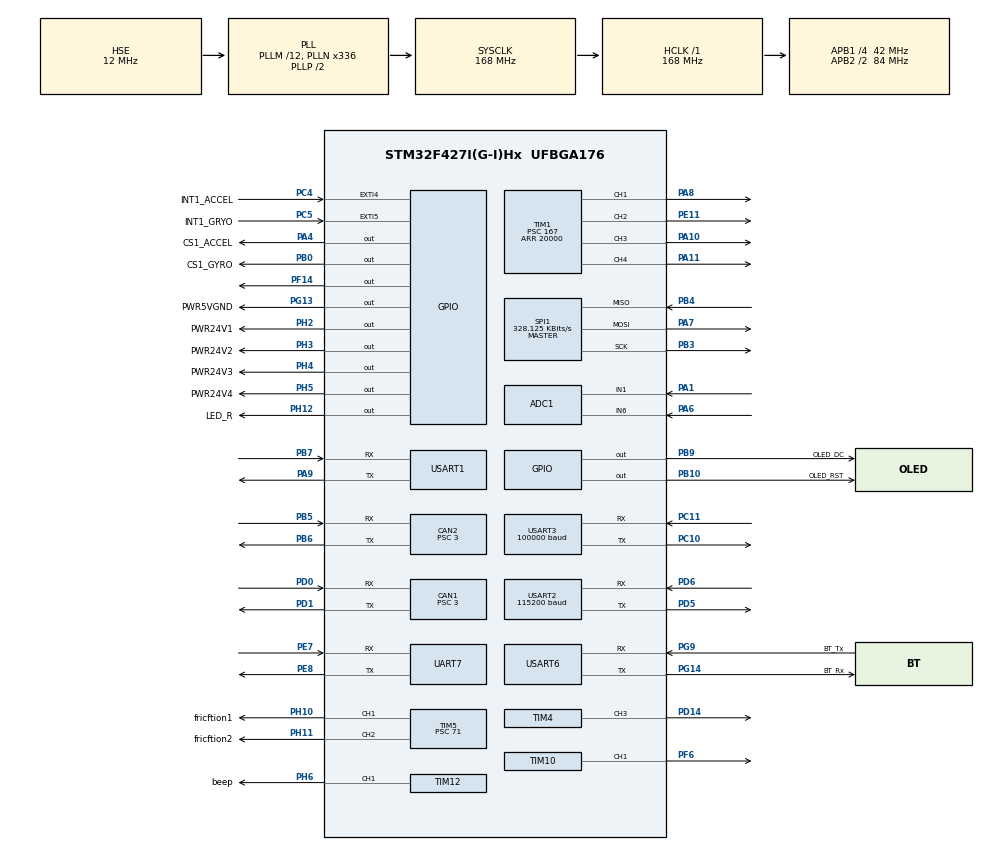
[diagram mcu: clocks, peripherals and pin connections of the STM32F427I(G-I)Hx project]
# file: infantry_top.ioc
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ADC1.Channel-0\#ChannelRegularConversion=ADC_CHANNEL_6
ADC1.DiscontinuousConvMode=DISABLE
ADC1.InjNumberOfConversion=0
ADC1.NbrOfConversion=1
ADC1.NbrOfConversionFlag=1
ADC1.Rank-0\#ChannelRegularConversion=1
ADC1.SamplingTime-0\#ChannelRegularConversion=ADC_SAMPLETIME_3CYCLES
ADC1.ScanConvMode=DISABLE
ADC1.master=1
CAN1.ABOM=ENABLE
CAN1.BS1=CAN_BS1_10TQ
CAN1.BS2=CAN_BS2_3TQ
CAN1.CalculateTimeQuantum=71.42857142857143
CAN1.Prescaler=3
CAN2.BS1=CAN_BS1_10TQ
CAN2.BS2=CAN_BS2_3TQ
CAN2.CalculateTimeQuantum=71.42857142857143
CAN2.Prescaler=3
Dma.Request0=USART3_RX
Dma.Request1=USART2_RX
Dma.Request2=USART2_TX
Dma.Request3=USART1_RX
Dma.Request4=USART1_TX
Dma.Request5=SPI1_RX
Dma.Request6=SPI1_TX
Dma.SPI1_RX.5.Direction=DMA_PERIPH_TO_MEMORY
Dma.SPI1_RX.5.FIFOMode=DMA_FIFOMODE_DISABLE
Dma.SPI1_RX.5.Instance=DMA2_Stream0
Dma.SPI1_RX.5.MemDataAlignment=DMA_MDATAALIGN_BYTE
Dma.SPI1_RX.5.MemInc=DMA_MINC_ENABLE
Dma.SPI1_RX.5.Mode=DMA_NORMAL
Dma.SPI1_RX.5.PeriphDataAlignment=DMA_PDATAALIGN_BYTE
Dma.SPI1_RX.5.PeriphInc=DMA_PINC_DISABLE
Dma.SPI1_RX.5.Priority=DMA_PRIORITY_LOW
Dma.SPI1_TX.6.Direction=DMA_MEMORY_TO_PERIPH
Dma.SPI1_TX.6.FIFOMode=DMA_FIFOMODE_DISABLE
Dma.SPI1_TX.6.Instance=DMA2_Stream3
Dma.SPI1_TX.6.MemDataAlignment=DMA_MDATAALIGN_BYTE
Dma.SPI1_TX.6.MemInc=DMA_MINC_ENABLE
Dma.SPI1_TX.6.Mode=DMA_NORMAL
Dma.SPI1_TX.6.PeriphDataAlignment=DMA_PDATAALIGN_BYTE
Dma.SPI1_TX.6.PeriphInc=DMA_PINC_DISABLE
Dma.SPI1_TX.6.Priority=DMA_PRIORITY_LOW
Dma.USART1_RX.3.Direction=DMA_PERIPH_TO_MEMORY
Dma.USART1_RX.3.FIFOMode=DMA_FIFOMODE_DISABLE
Dma.USART1_RX.3.Instance=DMA2_Stream2
Dma.USART1_RX.3.MemDataAlignment=DMA_MDATAALIGN_BYTE
Dma.USART1_RX.3.MemInc=DMA_MINC_ENABLE
Dma.USART1_RX.3.Mode=DMA_CIRCULAR
Dma.USART1_RX.3.PeriphDataAlignment=DMA_PDATAALIGN_BYTE
Dma.USART1_RX.3.PeriphInc=DMA_PINC_DISABLE
Dma.USART1_RX.3.Priority=DMA_PRIORITY_MEDIUM
Dma.USART1_TX.4.Direction=DMA_MEMORY_TO_PERIPH
Dma.USART1_TX.4.FIFOMode=DMA_FIFOMODE_DISABLE
Dma.USART1_TX.4.Instance=DMA2_Stream7
Dma.USART1_TX.4.MemDataAlignment=DMA_MDATAALIGN_BYTE
Dma.USART1_TX.4.MemInc=DMA_MINC_ENABLE
Dma.USART1_TX.4.Mode=DMA_NORMAL
Dma.USART1_TX.4.PeriphDataAlignment=DMA_PDATAALIGN_BYTE
Dma.USART1_TX.4.PeriphInc=DMA_PINC_DISABLE
Dma.USART1_TX.4.Priority=DMA_PRIORITY_MEDIUM
Dma.USART2_RX.1.Direction=DMA_PERIPH_TO_MEMORY
Dma.USART2_RX.1.FIFOMode=DMA_FIFOMODE_DISABLE
Dma.USART2_RX.1.Instance=DMA1_Stream5
Dma.USART2_RX.1.MemDataAlignment=DMA_MDATAALIGN_BYTE
Dma.USART2_RX.1.MemInc=DMA_MINC_ENABLE
Dma.USART2_RX.1.Mode=DMA_NORMAL
Dma.USART2_RX.1.PeriphDataAlignment=DMA_PDATAALIGN_BYTE
Dma.USART2_RX.1.PeriphInc=DMA_PINC_DISABLE
Dma.USART2_RX.1.Priority=DMA_PRIORITY_LOW
Dma.USART2_TX.2.Direction=DMA_MEMORY_TO_PERIPH
Dma.USART2_TX.2.FIFOMode=DMA_FIFOMODE_DISABLE
Dma.USART2_TX.2.Instance=DMA1_Stream6
Dma.USART2_TX.2.MemDataAlignment=DMA_MDATAALIGN_BYTE
Dma.USART2_TX.2.MemInc=DMA_MINC_ENABLE
Dma.USART2_TX.2.Mode=DMA_NORMAL
Dma.USART2_TX.2.PeriphDataAlignment=DMA_PDATAALIGN_BYTE
Dma.USART2_TX.2.PeriphInc=DMA_PINC_DISABLE
Dma.USART2_TX.2.Priority=DMA_PRIORITY_LOW
Dma.USART3_RX.0.Direction=DMA_PERIPH_TO_MEMORY
Dma.USART3_RX.0.FIFOMode=DMA_FIFOMODE_DISABLE
Dma.USART3_RX.0.Instance=DMA1_Stream1
Dma.USART3_RX.0.MemDataAlignment=DMA_MDATAALIGN_BYTE
Dma.USART3_RX.0.MemInc=DMA_MINC_ENABLE
Dma.USART3_RX.0.Mode=DMA_CIRCULAR
Dma.USART3_RX.0.PeriphDataAlignment=DMA_PDATAALIGN_BYTE
Dma.USART3_RX.0.PeriphInc=DMA_PINC_DISABLE
Dma.USART3_RX.0.Priority=DMA_PRIORITY_LOW
FREERTOS.Tasks01=defaultTask,0,128,StartDefaultTask,Default,NULL,Dynamic,NULL,NULL;Control,0,128,StartControl,Default,NULL,Dynamic,NULL,NULL;Debug,0,128,StartDebug,Default,NULL,Dynamic,NULL,NULL
Mcu.Family=STM32F4
Mcu.Name=STM32F427I(G-I)Hx
Mcu.Package=UFBGA176
NVIC.CAN1_RX0_IRQn=true\:5\:0\:false\:false\:true\:true\:true\:true
NVIC.CAN2_RX0_IRQn=true\:5\:0\:false\:false\:true\:true\:true\:true
NVIC.DMA1_Stream1_IRQn=true\:5\:0\:false\:false\:true\:true\:false\:true
NVIC.DMA1_Stream5_IRQn=true\:5\:0\:false\:false\:true\:true\:false\:true
NVIC.DMA1_Stream6_IRQn=true\:5\:0\:false\:false\:true\:true\:false\:true
NVIC.DMA2_Stream0_IRQn=true\:5\:0\:false\:false\:true\:true\:false\:true
NVIC.DMA2_Stream2_IRQn=true\:5\:0\:false\:false\:true\:true\:false\:true
NVIC.DMA2_Stream3_IRQn=true\:5\:0\:false\:false\:true\:true\:false\:true
NVIC.DMA2_Stream7_IRQn=true\:5\:0\:false\:false\:true\:true\:false\:true
NVIC.PriorityGroup=NVIC_PRIORITYGROUP_4
NVIC.TIM1_TRG_COM_TIM11_IRQn=true\:5\:0\:false\:false\:true\:true\:true\:true
NVIC.TIM6_DAC_IRQn=true\:5\:0\:false\:false\:true\:true\:true\:true
NVIC.USART1_IRQn=true\:5\:0\:false\:false\:true\:true\:true\:true
NVIC.USART2_IRQn=true\:5\:0\:false\:false\:true\:true\:true\:true
NVIC.USART3_IRQn=true\:5\:0\:false\:false\:true\:true\:true\:true
NVIC.USART6_IRQn=true\:5\:0\:false\:false\:true\:true\:true\:true
PA1.Signal=ADCx_IN1
PA10.Signal=S_TIM1_CH3
PA11.Signal=S_TIM1_CH4
PA13.Mode=Serial_Wire
PA13.Signal=SYS_JTMS-SWDIO
PA14.Mode=Serial_Wire
PA14.Signal=SYS_JTCK-SWCLK
PA4.GPIO_Label=CS1_ACCEL
PA4.GPIO_PuPd=GPIO_PULLUP
PA4.GPIO_Speed=GPIO_SPEED_FREQ_HIGH
PA4.PinState=GPIO_PIN_SET
PA4.Signal=GPIO_Output
PA6.Signal=ADCx_IN6
PA7.Mode=Full_Duplex_Master
PA7.Signal=SPI1_MOSI
PA8.Signal=S_TIM1_CH1
PA9.Mode=Asynchronous
PA9.Signal=USART1_TX
PB0.GPIO_Label=CS1_GYRO
PB0.GPIO_PuPd=GPIO_PULLUP
PB0.GPIO_Speed=GPIO_SPEED_FREQ_HIGH
PB0.PinState=GPIO_PIN_SET
PB0.Signal=GPIO_Output
PB10.GPIO_Label=OLED_RST
PB10.Signal=GPIO_Output
PB3.Mode=Full_Duplex_Master
PB3.Signal=SPI1_SCK
PB4.Mode=Full_Duplex_Master
PB4.Signal=SPI1_MISO
PB5.GPIO_PuPd=GPIO_NOPULL
PB5.Mode=Slave
PB5.Signal=CAN2_RX
PB6.GPIO_PuPd=GPIO_NOPULL
PB6.Mode=Slave
PB6.Signal=CAN2_TX
PB7.Mode=Asynchronous
PB7.Signal=USART1_RX
PB9.GPIO_Label=OLED_DC
PB9.Signal=GPIO_Output
PC10.Mode=Asynchronous
PC10.Signal=USART3_TX
PC11.Mode=Asynchronous
PC11.Signal=USART3_RX
PC14/OSC32_IN.Mode=LSE-External-Oscillator
PC14/OSC32_IN.Signal=RCC_OSC32_IN
PC15/OSC32_OUT.Mode=LSE-External-Oscillator
PC15/OSC32_OUT.Signal=RCC_OSC32_OUT
PC4.GPIO_Label=INT1_ACCEL
PC4.GPIO_ModeDefaultEXTI=GPIO_MODE_IT_FALLING
PC4.GPIO_PuPd=GPIO_PULLUP
PC4.Signal=GPXTI4
PC5.GPIO_Label=INT1_GRYO
PC5.GPIO_ModeDefaultEXTI=GPIO_MODE_IT_FALLING
PC5.GPIO_PuPd=GPIO_PULLUP
PC5.Signal=GPXTI5
PD0.GPIO_PuPd=GPIO_NOPULL
PD0.Mode=Master
PD0.Signal=CAN1_RX
PD1.GPIO_PuPd=GPIO_NOPULL
PD1.Mode=Master
PD1.Signal=CAN1_TX
PD14.Signal=S_TIM4_CH3
PD5.Mode=Asynchronous
PD5.Signal=USART2_TX
PD6.Mode=Asynchronous
PD6.Signal=USART2_RX
PE11.Signal=S_TIM1_CH2
PE7.Mode=Asynchronous
PE7.Signal=UART7_RX
PE8.Mode=Asynchronous
PE8.Signal=UART7_TX
PF14.Signal=GPIO_Output
PF6.GPIO_PuPd=GPIO_PULLUP
PF6.GPIO_Speed=GPIO_SPEED_FREQ_HIGH
PF6.Signal=S_TIM10_CH1
PG13.GPIO_Label=PWR5VGND
PG13.Signal=GPIO_Output
PG14.GPIO_Label=BT_Rx
PG14.Mode=Asynchronous
PG14.Signal=USART6_TX
PG9.GPIO_Label=BT_Tx
PG9.Mode=Asynchronous
PG9.Signal=USART6_RX
PH0/OSC_IN.Mode=HSE-External-Oscillator
PH0/OSC_IN.Signal=RCC_OSC_IN
PH1/OSC_OUT.Mode=HSE-External-Oscillator
PH1/OSC_OUT.Signal=RCC_OSC_OUT
PH10.GPIO_Label=fricftion1
PH10.Signal=S_TIM5_CH1
PH11.GPIO_Label=fricftion2
PH11.Signal=S_TIM5_CH2
PH12.GPIO_Label=LED_R
PH12.Signal=GPIO_Output
PH2.GPIO_Label=PWR24V1
PH2.Signal=GPIO_Output
PH3.GPIO_Label=PWR24V2
PH3.Signal=GPIO_Output
PH4.GPIO_Label=PWR24V3
PH4.Signal=GPIO_Output
PH5.GPIO_Label=PWR24V4
PH5.Signal=GPIO_Output
PH6.GPIO_Label=beep
PH6.Signal=S_TIM12_CH1
ProjectManager.HeapSize=0x600
ProjectManager.StackSize=0x400
ProjectManager.TargetToolchain=MDK-ARM V5
RCC.48MHZClocksFreq_Value=48000000
RCC.AHBFreq_Value=168000000
RCC.APB1CLKDivider=RCC_HCLK_DIV4
RCC.APB1Freq_Value=42000000
RCC.APB1TimFreq_Value=84000000
RCC.APB2CLKDivider=RCC_HCLK_DIV2
RCC.APB2Freq_Value=84000000
RCC.APB2TimFreq_Value=168000000
RCC.CortexFreq_Value=168000000
RCC.HCLKFreq_Value=168000000
RCC.HSE_VALUE=12000000
RCC.HSI_VALUE=16000000
RCC.PLLM=12
RCC.PLLN=336
RCC.PLLQ=7
RCC.PLLSourceVirtual=RCC_PLLSOURCE_HSE
RCC.SYSCLKFreq_VALUE=168000000
RCC.SYSCLKSource=RCC_SYSCLKSOURCE_PLLCLK
RCC.VCOOutputFreq_Value=336000000
SH.ADCx_IN1.0=ADC1_IN1,IN1
SH.ADCx_IN6.0=ADC1_IN6,IN6
SH.S_TIM10_CH1.0=TIM10_CH1,PWM Generation1 CH1
SH.S_TIM12_CH1.0=TIM12_CH1,PWM Generation1 CH1
SH.S_TIM1_CH1.0=TIM1_CH1,PWM Generation1 CH1
SH.S_TIM1_CH2.0=TIM1_CH2,PWM Generation2 CH2
SH.S_TIM1_CH3.0=TIM1_CH3,PWM Generation3 CH3
SH.S_TIM1_CH4.0=TIM1_CH4,PWM Generation4 CH4
SH.S_TIM4_CH3.0=TIM4_CH3,PWM Generation3 CH3
SH.S_TIM5_CH1.0=TIM5_CH1,PWM Generation1 CH1
SH.S_TIM5_CH2.0=TIM5_CH2,PWM Generation2 CH2
SPI1.BaudRatePrescaler=SPI_BAUDRATEPRESCALER_256
SPI1.CLKPhase=SPI_PHASE_2EDGE
SPI1.CalculateBaudRate=328.125 KBits/s
SPI1.Direction=SPI_DIRECTION_2LINES
SPI1.Mode=SPI_MODE_MASTER
SPI1.VirtualType=VM_MASTER
TIM1.Channel-PWM\ Generation1\ CH1=TIM_CHANNEL_1
TIM1.Channel-PWM\ Generation2\ CH2=TIM_CHANNEL_2
TIM1.Channel-PWM\ Generation3\ CH3=TIM_CHANNEL_3
TIM1.Channel-PWM\ Generation4\ CH4=TIM_CHANNEL_4
TIM1.Period=20000
TIM1.Prescaler=167
TIM1.Pulse-PWM\ Generation1\ CH1=1000
TIM1.Pulse-PWM\ Generation2\ CH2=1000
TIM1.Pulse-PWM\ Generation3\ CH3=1000
TIM1.Pulse-PWM\ Generation4\ CH4=1000
TIM10.Channel=TIM_CHANNEL_1
TIM10.Period=4999
TIM11.Period=999
TIM11.Prescaler=167
TIM12.Channel-PWM\ Generation1\ CH1=TIM_CHANNEL_1
TIM12.Period=36
TIM12.Prescaler=839
TIM12.Pulse-PWM\ Generation1\ CH1=18
TIM4.Channel-PWM\ Generation3\ CH3=TIM_CHANNEL_3
TIM4.Period=36
TIM4.Prescaler=839
TIM4.Pulse-PWM\ Generation3\ CH3=18
TIM5.Channel-PWM\ Generation1\ CH1=TIM_CHANNEL_1
TIM5.Channel-PWM\ Generation2\ CH2=TIM_CHANNEL_2
TIM5.Period=19999
TIM5.Prescaler=71
TIM5.Pulse-PWM\ Generation1\ CH1=1000
TIM5.Pulse-PWM\ Generation2\ CH2=1000
TIM6.Period=9999
TIM6.Prescaler=7199
UART7.VirtualMode=Asynchronous
USART1.VirtualMode=VM_ASYNC
USART2.BaudRate=115200
USART2.VirtualMode=VM_ASYNC
USART3.BaudRate=100000
USART3.Parity=PARITY_EVEN
USART3.VirtualMode=VM_ASYNC
USART6.VirtualMode=VM_ASYNC
VP_ADC1_TempSens_Input.Mode=IN-TempSens
VP_FREERTOS_VS_CMSIS_V1.Mode=CMSIS_V1
VP_TIM10_VS_ClockSourceINT.Mode=Enable_Timer
VP_TIM11_VS_ClockSourceINT.Mode=Enable_Timer
VP_TIM4_VS_ClockSourceINT.Mode=Internal
VP_TIM5_VS_ClockSourceINT.Mode=Internal
VP_TIM6_VS_ClockSourceINT.Mode=Enable_Timer
board=custom

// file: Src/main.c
/* USER CODE BEGIN Header */
/**
  ******************************************************************************
  * @file           : main.c
  * @brief          : Main program body
  ******************************************************************************
  * @attention
  *
  * <h2><center>&copy; Copyright (c) 2019 STMicroelectronics.
  * All rights reserved.</center></h2>
  *
  * This software component is licensed by ST under BSD 3-Clause license,
  * the "License"; You may not use this file except in compliance with the
  * License. You may obtain a copy of the License at:
  *                        opensource.org/licenses/BSD-3-Clause
  *
  ******************************************************************************
  */
/* USER CODE END Header */

#include "main.h"
#include "cmsis_os.h"
#include "adc.h"
#include "can.h"
#include "dma.h"
#include "spi.h"
#include "tim.h"
#include "usart.h"
#include "gpio.h"

void SystemClock_Config(void);
void MX_FREERTOS_Init(void);
/* USER CODE BEGIN PFP */
void BSP_All_Init(void);		// 所有设备初始化
/* USER CODE END PFP */

int main(void)
{

  /* MCU Configuration--------------------------------------------------------*/

  /* Reset of all peripherals, Initializes the Flash interface and the Systick. */
  HAL_Init();

  /* Configure the system clock */
  SystemClock_Config();

  /* Initialize all configured peripherals */
  MX_GPIO_Init();
  MX_DMA_Init();
  MX_ADC1_Init();
  MX_CAN1_Init();
  MX_CAN2_Init();
  MX_TIM1_Init();
  MX_TIM6_Init();
  MX_TIM5_Init();
  MX_USART2_UART_Init();
  MX_TIM12_Init();
  MX_TIM4_Init();
  MX_USART6_UART_Init();
  MX_TIM11_Init();
  MX_USART3_UART_Init();
  MX_UART7_Init();
  MX_USART1_UART_Init();
  MX_SPI1_Init();
  MX_TIM10_Init();
  /* USER CODE BEGIN 2 */
    BSP_All_Init();

  /* USER CODE END 2 */

  /* Call init function for freertos objects (in freertos.c) */
  MX_FREERTOS_Init();
  /* Start scheduler */
  osKernelStart();

  /* We should never get here as control is now taken by the scheduler */
  /* Infinite loop */
    while (1)
    {

    }
}

void SystemClock_Config(void)
{
  RCC_OscInitTypeDef RCC_OscInitStruct = {0};
  RCC_ClkInitTypeDef RCC_ClkInitStruct = {0};

  /** Configure the main internal regulator output voltage
  */
  __HAL_RCC_PWR_CLK_ENABLE();
  __HAL_PWR_VOLTAGESCALING_CONFIG(PWR_REGULATOR_VOLTAGE_SCALE1);
  /** Initializes the CPU, AHB and APB busses clocks
  */
  RCC_OscInitStruct.OscillatorType = RCC_OSCILLATORTYPE_HSE;
  RCC_OscInitStruct.HSEState = RCC_HSE_ON;
  RCC_OscInitStruct.PLL.PLLState = RCC_PLL_ON;
  RCC_OscInitStruct.PLL.PLLSource = RCC_PLLSOURCE_HSE;
  RCC_OscInitStruct.PLL.PLLM = 12;
  RCC_OscInitStruct.PLL.PLLN = 336;
  RCC_OscInitStruct.PLL.PLLP = RCC_PLLP_DIV2;
  RCC_OscInitStruct.PLL.PLLQ = 7;
  if (HAL_RCC_OscConfig(&RCC_OscInitStruct) != HAL_OK)
  {
    Error_Handler();
  }
  /** Initializes the CPU, AHB and APB busses clocks
  */
  RCC_ClkInitStruct.ClockType = RCC_CLOCKTYPE_HCLK|RCC_CLOCKTYPE_SYSCLK
                              |RCC_CLOCKTYPE_PCLK1|RCC_CLOCKTYPE_PCLK2;
  RCC_ClkInitStruct.SYSCLKSource = RCC_SYSCLKSOURCE_PLLCLK;
  RCC_ClkInitStruct.AHBCLKDivider = RCC_SYSCLK_DIV1;
  RCC_ClkInitStruct.APB1CLKDivider = RCC_HCLK_DIV4;
  RCC_ClkInitStruct.APB2CLKDivider = RCC_HCLK_DIV2;

  if (HAL_RCC_ClockConfig(&RCC_ClkInitStruct, FLASH_LATENCY_5) != HAL_OK)
  {
    Error_Handler();
  }
}

/* USER CODE BEGIN 4 */
void BSP_All_Init(void)	// 初始化所有硬件层
{
    uint8_t i=0;	// 计数
	extern uint8_t aTxVisionMessages[22];

	BMI088_init();
	hspi1.Init.BaudRatePrescaler = SPI_BAUDRATEPRESCALER_8;
    if (HAL_SPI_Init(&hspi1) != HAL_OK)Error_Handler();
	mpu_offset_call();

//    OLED_Init();			// 初始化OLED
//    OLED_Clear(Pen_Write);

    PWR24V_On();			// 开启板子上的24V电压输出
    CAN_FilterInit(&hcan1);	// 初始化CAN1的筛选器
    CAN_FilterInit(&hcan2);	// 初始化CAN2的筛选器

    PID_Init(&PID_GM6020[0],POSITION_PID,30000,20000,7000,00,10000);	// 300云台底部电机10000 0 8000
	PID_Init(&PID_GM6020_speed[0],DELTA_PID,10000,3000,600,0,0);//0.0001

	PID_Init(&PID_GM6020[1],POSITION_PID,20000,10000,2000,0,2000);		// 云台侧面电机1600
    PID_Init(&PID_GM6020_speed[1],DELTA_PID,10000,3000,5,0,0);//0.0001

    PID_Init(&PID_M2006[0],DELTA_PID,10000,10000,5,0.8,0.2);		// 发射拨盘电机 速度闭环
    PID_Init(&PID_M2006_ANGLE[0],POSITION_PID,3000,16384,40.0,0,0);	// 发射拨盘电机 角度闭环

	PID_Init(&PID_M2006[1],DELTA_PID,10000,10000,3,0.1,0.1);		// 发射拨盘电机 速度闭环
    PID_Init(&PID_M2006_ANGLE[1],POSITION_PID,3000,16384,20.0,0,0);	// 发射拨盘电机 角度闭环

    for(i=0; i<4; i++)	// 四个底盘电机
    {
        PID_Init(&PID_M3508[i],DELTA_PID,10000,10000,5,0.1,0);//5,0.01
    }

    for(i=4; i<6; i++)	// 两个摩擦轮电机
    {
        PID_Init(&PID_M3508[i],DELTA_PID,10000,10000,3,0.1,0.1);
    }
    PID_Init(&PID_M3508_Follow,POSITION_PID,3000,10000,60,0,0);
    PID_Init(&PID_HEAT_PWM,POSITION_PID,1000,1000,30,0.005,20);

	extern uint8_t tmp_vision;

	HAL_UART_Receive_IT(&huart6, (uint8_t *)aRxBuffer, 1);
//	HAL_UART_Receive_IT(&huart1, &tmp_vision, 1);
//	__HAL_UART_ENABLE_IT(&huart1,UART_IT_IDLE);
	HAL_UART_Receive_DMA(&huart1, &tmp_vision, 1);
	HAL_UART_Transmit_DMA(&huart1 ,(uint8_t*)aTxVisionMessages,sizeof(aTxVisionMessages));

    InitJudgeUart();
    PWM_init();				// 初始化PWM输出
    dbus_uart_init();		// 初始化遥控器

    usmart_dev.init(84);
	LASER_On();		// 开启激光
//    LASER_Off();	// 关闭激光
	HAL_TIM_Base_Stop_IT(&htim11);
	Beep(200);
}
/* USER CODE END 4 */

void Error_Handler(void)
{
}

/************************ (C) COPYRIGHT STMicroelectronics *****END OF FILE****/

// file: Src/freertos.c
/* USER CODE BEGIN Header */
/**
  ******************************************************************************
  * File Name          : freertos.c
  * Description        : Code for freertos applications
  ******************************************************************************
  * @attention
  *
  * <h2><center>&copy; Copyright (c) 2019 STMicroelectronics.
  * All rights reserved.</center></h2>
  *
  * This software component is licensed by ST under Ultimate Liberty license
  * SLA0044, the "License"; You may not use this file except in compliance with
  * the License. You may obtain a copy of the License at:
  *                             www.st.com/SLA0044
  *
  ******************************************************************************
  */
/* USER CODE END Header */

#include "FreeRTOS.h"
#include "task.h"
#include "main.h"
#include "cmsis_os.h"

/* USER CODE BEGIN Includes */
#include "bsp_can.h"
#include "pid.h"
#include "bsp_pwm.h"
//#include "bsp_imu.h"
#include "gimbal.h"

/* USER CODE END Includes */

/* USER CODE BEGIN Variables */

extern int 			setSpeed[4];
extern UART_HandleTypeDef huart1;
extern UART_HandleTypeDef huart2;
extern uint8_t RxCounter1,RxBuffer1[500],RxTemp1,F_Usart1;
extern VisionData datadata;
extern imu_t      imu;
float i=0;
/* USER CODE END Variables */
osThreadId defaultTaskHandle;
osThreadId ControlHandle;
osThreadId DebugHandle;

void StartDefaultTask(void const * argument);
void StartControl(void const * argument);
void StartDebug(void const * argument);

void MX_FREERTOS_Init(void); /* (MISRA C 2004 rule 8.1) */

/* GetIdleTaskMemory prototype (linked to static allocation support) */
void vApplicationGetIdleTaskMemory( StaticTask_t **ppxIdleTaskTCBBuffer, StackType_t **ppxIdleTaskStackBuffer, uint32_t *pulIdleTaskStackSize );

/* USER CODE BEGIN GET_IDLE_TASK_MEMORY */
static StaticTask_t xIdleTaskTCBBuffer;
static StackType_t xIdleStack[configMINIMAL_STACK_SIZE];

void vApplicationGetIdleTaskMemory( StaticTask_t **ppxIdleTaskTCBBuffer, StackType_t **ppxIdleTaskStackBuffer, uint32_t *pulIdleTaskStackSize )
{
    *ppxIdleTaskTCBBuffer = &xIdleTaskTCBBuffer;
    *ppxIdleTaskStackBuffer = &xIdleStack[0];
    *pulIdleTaskStackSize = configMINIMAL_STACK_SIZE;
    /* place for user code */
}
/* USER CODE END GET_IDLE_TASK_MEMORY */

void MX_FREERTOS_Init(void) {

  /* Create the thread(s) */
  /* definition and creation of defaultTask */
  osThreadDef(defaultTask, StartDefaultTask, osPriorityNormal, 0, 128);
  defaultTaskHandle = osThreadCreate(osThread(defaultTask), NULL);

  /* definition and creation of Control */
  osThreadDef(Control, StartControl, osPriorityNormal, 0, 128);
  ControlHandle = osThreadCreate(osThread(Control), NULL);

  /* definition and creation of Debug */
  osThreadDef(Debug, StartDebug, osPriorityNormal, 0, 128);
  DebugHandle = osThreadCreate(osThread(Debug), NULL);

}

void StartDefaultTask(void const * argument)
{
  /* USER CODE BEGIN StartDefaultTask */
tim11_cnt=0;
    /* Infinite loop */
    for(;;)
    {
//		IMU_Get();
//		HAL_GPIO_WritePin(LED_R_GPIO_Port, LED_R_Pin, 1);
//		HAL_Delay(300);
//		LED_R_Toggle();
//		if(flag1)
//		LED_R_On();
//		 CAN_GM6020[1].angle;
//		CAN_M2006[0].set_current = PID_Calculate(&PID_M2006[0],7200, CAN_M2006[0].speed);
//	Vision_aiming();
//		CAN_Chassis_SendCurrent2();
//		CAN_GM6020_Gimbal_SendVoltage();
//		printf("%s","33   ");
//		HAL_UART_Transmit_DMA(&huart1, "1", 10);
//		HAL_UART_RxCpltCallback(&huart1);
		if(rc_flag)
		{
//			Vision_aiming();
//			CAN_Chassis_SendCurrent2();
//			CAN_GM6020_Gimbal_SendVoltage();
//			RC_Shoot(6000,6000);  //����ģʽ
			RC_Singleshot(8000,6);//����ģʽ
//			RC_Shoot(10000,200);
			RC_Vision_aiming();   //����ģʽ
//			RC_Chassis();		  //�ƶ�ģʽ
//			RC_PC();
//			RC_Spin();			  //����ģʽ
		}

    }
  /* USER CODE END StartDefaultTask */
}

void StartControl(void const * argument)
{
  /* USER CODE BEGIN StartControl */
    /* Infinite loop */
    for(;;)
    {
//        RC_Shoot(3000,5000);
        if(rc_flag==1)
            Beep_Off();
        else {
//			Beep_On();
            CAN_M3508[0].set_current=0;
            CAN_M3508[1].set_current=0;
            CAN_M3508[2].set_current=0;
            CAN_M3508[3].set_current=0;
            CAN_M3508[4].set_current=0;
            CAN_M3508[5].set_current=0;
            CAN_GM6020[0].set_voltage=0;
            CAN_GM6020[1].set_voltage=0;
			CAN_M2006[0].set_current =0;
			CAN_M2006[1].set_current =0;
            CAN_M3508_Chassis_SendCurrent();
			CAN_Chassis_SendCurrent2();
            CAN_GM6020_Gimbal_SendVoltage();
        }
        rc_flag=0;
        osDelay(100);

//		printf("%d",rc.mouse_x);
//		printf("%f %f %f %f\n",datadata.pitch_angle.f,datadata.yaw_angle.f,datadata.z_angle.f,datadata.dis.f);
//		VisionUartTxSenddata();
//		OLED_Printf(0,1,"%f",-CAN_M2006[0].total_angle);
//		OLED_RefreshGram();
    }
  /* USER CODE END StartControl */
}

void StartDebug(void const * argument)
{
  /* USER CODE BEGIN StartDebug */

    /* Infinite loop */
    for(;;)
    {
//		HAL_UART_RxCpltCallback(&huart1);
		IMU_Get();
//		osDelay(5);
//        IMU_Get();
//		BT_Send6020Wave();
//		BT_SendWave();
//        BT_SendPowerHeatWave();
//		i=PID_Calculate(&PID_HEAT_PWM,50,imu.temp)*100;
//        __HAL_TIM_SET_COMPARE(&htim3,TIM_CHANNEL_2,PID_Calculate(&PID_HEAT_PWM,45,imu.temp)*100);
    }
  /* USER CODE END StartDebug */
}

/************************ (C) COPYRIGHT STMicroelectronics *****END OF FILE****/
